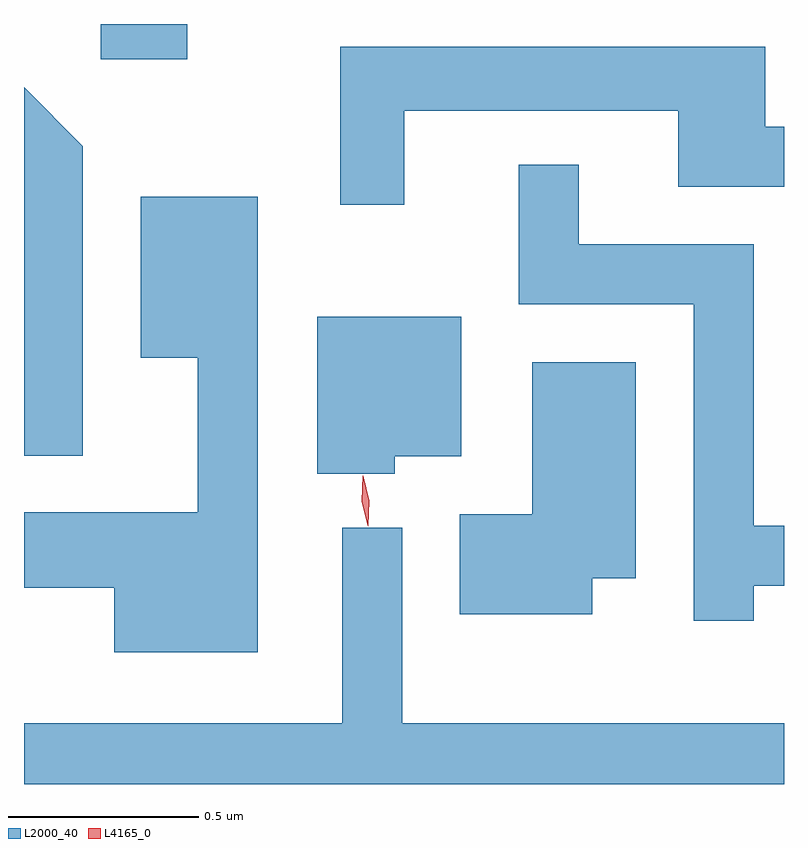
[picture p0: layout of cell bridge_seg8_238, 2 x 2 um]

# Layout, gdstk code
import gdstk
lib = gdstk.Library(unit=1e-6, precision=1e-09)
def R(c, l, rs):  # rectangles x0, y0, x1, y1
    for r in rs: c.add(gdstk.rectangle(r[:2], r[2:], *l))
def P(c, l, *ps):  # polygons
    for p in ps: c.add(gdstk.Polygon(p, *l))
L2000_40 = (2000, 40)
L4165_0 = (4165, 0)

bridge_seg8_238 = lib.new_cell('bridge_seg8_238')
R(bridge_seg8_238, L2000_40, [(1038.711,1922.791,1038.939,1922.884)])
P(bridge_seg8_238, L2000_40, [(1039.509,1922.656),(1040.231,1922.656),(1040.231,1922.456),(1040.509,1922.456),(1040.509,1922.614),(1040.459,1922.614),(1040.459,1922.824),(1039.341,1922.824),(1039.341,1922.408),(1039.509,1922.408)],
  [(1038.664,1922.562),(1038.509,1922.717),(1038.509,1921.748),(1038.664,1921.748)],
  [(1040.429,1921.406),(1040.509,1921.406),(1040.509,1921.564),(1040.429,1921.564),(1040.429,1922.304),(1039.969,1922.304),(1039.969,1922.513),(1039.811,1922.513),(1039.811,1922.146),(1040.271,1922.146),(1040.271,1921.313),(1040.429,1921.313)],
  [(1039.124,1922.429),(1038.816,1922.429),(1038.816,1922.006),(1038.966,1922.006),(1038.966,1921.599),(1038.509,1921.599),(1038.509,1921.401),(1038.746,1921.401),(1038.746,1921.231),(1039.124,1921.231)],
  [(1039.484,1921.746),(1039.659,1921.746),(1039.659,1922.114),(1039.281,1922.114),(1039.281,1921.701),(1039.484,1921.701)],
  [(1040.004,1921.426),(1040.119,1921.426),(1040.119,1921.994),(1039.846,1921.994),(1039.846,1921.594),(1039.656,1921.594),(1039.656,1921.331),(1040.004,1921.331)],
  [(1040.509,1921.044),(1039.504,1921.044),(1039.504,1921.558),(1039.346,1921.558),(1039.346,1921.044),(1038.509,1921.044),(1038.509,1920.884),(1040.509,1920.884)])
P(bridge_seg8_238, L4165_0, [(1039.415,1921.562),(1039.414,1921.563),(1039.398,1921.628),(1039.401,1921.695),(1039.402,1921.695),(1039.402,1921.695),(1039.418,1921.63),(1039.415,1921.563)])

lib.write_gds('bridge_seg8_238.gds')
